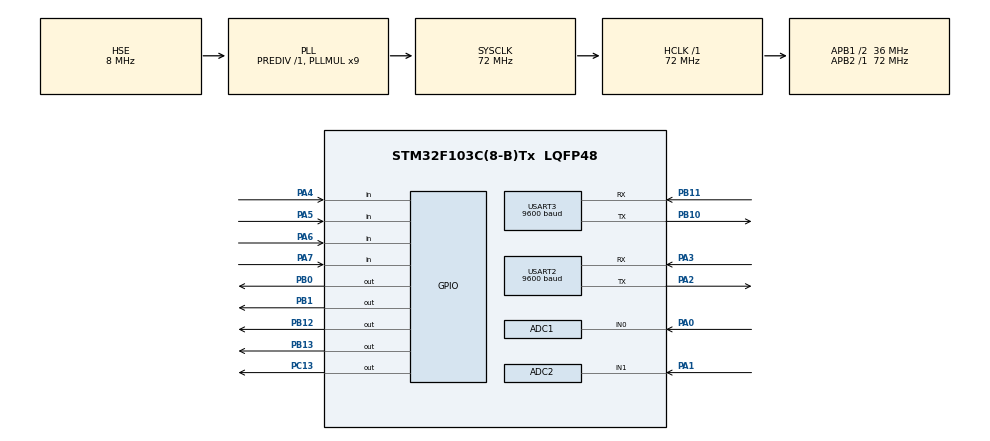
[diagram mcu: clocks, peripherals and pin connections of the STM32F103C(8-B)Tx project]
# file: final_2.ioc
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Mcu.Family=STM32F1
NVIC.USART3_IRQn=true\:0\:0\:false\:false\:true\:true\:true
RCC.PLLSourceVirtual=RCC_PLLSOURCE_HSE
PD1-OSC_OUT.Mode=HSE-External-Oscillator
PB10.Mode=Asynchronous
ADC2.Channel-0\#ChannelRegularConversion=ADC_CHANNEL_1
PC13-TAMPER-RTC.Signal=GPIO_Output
PD0-OSC_IN.Signal=RCC_OSC_IN
RCC.APB1CLKDivider=RCC_HCLK_DIV2
PB11.Signal=USART3_RX
PB13.Signal=GPIO_Output
VP_SYS_VS_ND.Mode=No_Debug
NVIC.USART2_IRQn=true\:0\:0\:false\:false\:true\:true\:true
USART2.BaudRate=9600
RCC.SYSCLKSource=RCC_SYSCLKSOURCE_PLLCLK
ProjectManager.StackSize=0x400
PA0-WKUP.Signal=ADCx_IN0
PD1-OSC_OUT.Signal=RCC_OSC_OUT
PA3.Mode=Asynchronous
USART3.BaudRate=9600
PB11.Mode=Asynchronous
ProjectManager.TargetToolchain=STM32CubeIDE
RCC.HCLKFreq_Value=72000000
RCC.APB2TimFreq_Value=72000000
ADC1.Channel-1\#ChannelRegularConversion=ADC_CHANNEL_0
RCC.USBFreq_Value=72000000
PA1.Signal=ADCx_IN1
PA7.GPIO_PuPd=GPIO_PULLUP
RCC.AHBFreq_Value=72000000
PD0-OSC_IN.Mode=HSE-External-Oscillator
PB10.Signal=USART3_TX
PA5.Signal=GPIO_Input
PA4.GPIO_PuPd=GPIO_PULLUP
board=custom
RCC.PLLMUL=RCC_PLL_MUL9
RCC.APB2Freq_Value=72000000
PA6.GPIO_PuPd=GPIO_PULLUP
PA5.GPIO_PuPd=GPIO_PULLUP
SH.ADCx_IN0.0=ADC1_IN0,IN0
Mcu.Name=STM32F103C(8-B)Tx
PA2.Signal=USART2_TX
PA4.Signal=GPIO_Input
ADC1.SamplingTime-1\#ChannelRegularConversion=ADC_SAMPLETIME_1CYCLE_5
RCC.SYSCLKFreq_VALUE=72000000
Mcu.Package=LQFP48
PA6.Signal=GPIO_Input
PB1.Signal=GPIO_Output
ADC1.master=1
ADC2.NbrOfConversionFlag=1
USART2.VirtualMode=VM_ASYNC
USART3.VirtualMode=VM_ASYNC
ADC1.Rank-1\#ChannelRegularConversion=1
ProjectManager.HeapSize=0x200
ADC2.SamplingTime-0\#ChannelRegularConversion=ADC_SAMPLETIME_1CYCLE_5
NVIC.PriorityGroup=NVIC_PRIORITYGROUP_4
ADC1.NbrOfConversionFlag=1
SH.ADCx_IN1.0=ADC2_IN1,IN1
RCC.APB1TimFreq_Value=72000000
PA2.Mode=Asynchronous
ADC2.Rank-0\#ChannelRegularConversion=1
RCC.APB1Freq_Value=36000000
PB0.Signal=GPIO_Output
PB12.Signal=GPIO_Output
PA3.Signal=USART2_RX
PA7.Signal=GPIO_Input

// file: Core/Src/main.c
/* USER CODE BEGIN Header */
/**
  ******************************************************************************
  * @file           : main.c
  * @author         :Mahmoud Saad
  * @brief          : Main program body
  ******************************************************************************
  * @attention
  *
  * <h2><center>&copy; Copyright (c) 2025 STMicroelectronics.
  * All rights reserved.</center></h2>
  *
  * This software component is licensed by ST under BSD 3-Clause license,
  * the "License"; You may not use this file except in compliance with the
  * License. You may obtain a copy of the License at:
  *                        opensource.org/licenses/BSD-3-Clause
  *
  ******************************************************************************
  */
/* USER CODE END Header */
#include "main.h"

/* USER CODE BEGIN Includes */
#include <string.h>
/* USER CODE END Includes */

ADC_HandleTypeDef hadc1;
ADC_HandleTypeDef hadc2;

UART_HandleTypeDef huart2;
UART_HandleTypeDef huart3;

/* USER CODE BEGIN PV */
//static const char* last_direction_uart2 = "CENTER";
//static const char* last_direction_uart3 = "CENTER";

uint32_t joystick_x = 0;
uint32_t joystick_y = 0;

#define THRESHOLD_HIGH 3000
#define THRESHOLD_LOW 1000

uint8_t rx_byte2; // receive one byte
char command2[10];
uint8_t idx2 = 0;

uint8_t rx_byte3; // receive one byte
char command3[10];
uint8_t idx3 = 0;

/* USER CODE END PV */

void SystemClock_Config(void);
static void MX_GPIO_Init(void);
static void MX_ADC1_Init(void);
static void MX_ADC2_Init(void);
static void MX_USART2_UART_Init(void);
static void MX_USART3_UART_Init(void);
/* USER CODE BEGIN PFP */

int read_mode(void);
const char* get_joystick_direction(uint32_t x, uint32_t y);
void read_joystick(uint32_t *x, uint32_t *y);

void move_forward(void);
void move_backward(void);
void turn_left(void);
void turn_right(void);
void stop_motors(void);

/* USER CODE END PFP */

int main(void)
{

  /* MCU Configuration--------------------------------------------------------*/

  /* Reset of all peripherals, Initializes the Flash interface and the Systick. */
  HAL_Init();

  /* Configure the system clock */
  SystemClock_Config();

  /* Initialize all configured peripherals */
  MX_GPIO_Init();
  MX_ADC1_Init();
  MX_ADC2_Init();
  MX_USART2_UART_Init();
  MX_USART3_UART_Init();

  /* Infinite loop */
  /* USER CODE BEGIN WHILE */

  HAL_UART_Receive_IT(&huart2, &rx_byte2, 1);
  HAL_UART_Receive_IT(&huart3, &rx_byte3, 1);

  const char* last_direction = "CENTER";

  uint8_t data = 0;
  int current_mode = 0;
  for(int i=0 ; i<3 ; i++)
  {
  HAL_GPIO_WritePin(GPIOC, GPIO_PIN_13, GPIO_PIN_SET);
  HAL_Delay(100);
  HAL_GPIO_WritePin(GPIOC, GPIO_PIN_13, GPIO_PIN_RESET);
  HAL_Delay(100);
  }
  while (1)
  {

	  int new_mode = read_mode();
	      if (new_mode != 0) {
	          current_mode = new_mode;
	      }

	      switch(current_mode) {
	          case 1: // Mode 1: Joystick
	              read_joystick(&joystick_x, &joystick_y);
	              const char* direction = get_joystick_direction(joystick_x, joystick_y);
	              // هنا تستخدم direction لتحريك المحركات
	              if (strcmp(direction, last_direction) != 0) {
	                  stop_motors();
	                  HAL_Delay(500);  // حماية قبل تنفيذ الاتجاه الجديد
	              }

	              if (strcmp(direction, "LEFT") == 0) {

	                          turn_left();

	                      }
	              else if (strcmp(direction, "RIGHT") == 0) {

	                          turn_right();
	                      }
	              else if (strcmp(direction, "UP") == 0) {

	                          move_forward();

	                      }
	              else if (strcmp(direction, "DOWN") == 0) {

	                      move_backward();

	                      }
	              else {
	                          stop_motors();
	                      }

	              last_direction = direction;

	              HAL_Delay(50);
	              break;

	          case 2: // Mode 2: UART2
	          {
	        	  if (HAL_GPIO_ReadPin(GPIOA, GPIO_PIN_5) == GPIO_PIN_RESET) {
	        	        data = '2';
	        	        HAL_UART_Transmit(&huart2, &data, 1, HAL_MAX_DELAY);
	        	        HAL_Delay(100); // to prevent speed repeat
	        	  }

	              break;
	          }

	          case 3: // Mode 3: UART3 Transmit / Receive
	              // هنا التعامل مع UART3
	        	  if (HAL_GPIO_ReadPin(GPIOA, GPIO_PIN_6) == GPIO_PIN_RESET){
	        	  data = '3';
	        	  HAL_UART_Transmit(&huart3, &data, 1, HAL_MAX_DELAY);
	        	  HAL_Delay(100); // to prevent speed repeat
	        	  }

	              break;

	          case 4: // Mode 4: UART3 Transmit / Receive
	              // هنا التعامل مع UART3 (حالة تانية)
	        	  if (HAL_GPIO_ReadPin(GPIOA, GPIO_PIN_5) == GPIO_PIN_RESET){
	        	  data = '4';
	        	  HAL_UART_Transmit(&huart3, &data, 1, HAL_MAX_DELAY);
	        	  HAL_Delay(100); // to prevent speed repeat
	        	  }
	        	  break;

	          default:
	              // مافيش مودي محدد
	        	  stop_motors();
	        	  //HAL_Delay(300);
	        	  break;
	      }

    /* USER CODE END WHILE */

  }
}

void SystemClock_Config(void)
{
  RCC_OscInitTypeDef RCC_OscInitStruct = {0};
  RCC_ClkInitTypeDef RCC_ClkInitStruct = {0};
  RCC_PeriphCLKInitTypeDef PeriphClkInit = {0};

  /** Initializes the RCC Oscillators according to the specified parameters
  * in the RCC_OscInitTypeDef structure.
  */
  RCC_OscInitStruct.OscillatorType = RCC_OSCILLATORTYPE_HSE;
  RCC_OscInitStruct.HSEState = RCC_HSE_ON;
  RCC_OscInitStruct.HSEPredivValue = RCC_HSE_PREDIV_DIV1;
  RCC_OscInitStruct.HSIState = RCC_HSI_ON;
  RCC_OscInitStruct.PLL.PLLState = RCC_PLL_ON;
  RCC_OscInitStruct.PLL.PLLSource = RCC_PLLSOURCE_HSE;
  RCC_OscInitStruct.PLL.PLLMUL = RCC_PLL_MUL9;
  if (HAL_RCC_OscConfig(&RCC_OscInitStruct) != HAL_OK)
  {
    Error_Handler();
  }
  /** Initializes the CPU, AHB and APB buses clocks
  */
  RCC_ClkInitStruct.ClockType = RCC_CLOCKTYPE_HCLK|RCC_CLOCKTYPE_SYSCLK
                              |RCC_CLOCKTYPE_PCLK1|RCC_CLOCKTYPE_PCLK2;
  RCC_ClkInitStruct.SYSCLKSource = RCC_SYSCLKSOURCE_PLLCLK;
  RCC_ClkInitStruct.AHBCLKDivider = RCC_SYSCLK_DIV1;
  RCC_ClkInitStruct.APB1CLKDivider = RCC_HCLK_DIV2;
  RCC_ClkInitStruct.APB2CLKDivider = RCC_HCLK_DIV1;

  if (HAL_RCC_ClockConfig(&RCC_ClkInitStruct, FLASH_LATENCY_2) != HAL_OK)
  {
    Error_Handler();
  }
  PeriphClkInit.PeriphClockSelection = RCC_PERIPHCLK_ADC;
  PeriphClkInit.AdcClockSelection = RCC_ADCPCLK2_DIV2;
  if (HAL_RCCEx_PeriphCLKConfig(&PeriphClkInit) != HAL_OK)
  {
    Error_Handler();
  }
}

static void MX_ADC1_Init(void)
{

  ADC_ChannelConfTypeDef sConfig = {0};

  /** Common config
  */
  hadc1.Instance = ADC1;
  hadc1.Init.ScanConvMode = ADC_SCAN_DISABLE;
  hadc1.Init.ContinuousConvMode = DISABLE;
  hadc1.Init.DiscontinuousConvMode = DISABLE;
  hadc1.Init.ExternalTrigConv = ADC_SOFTWARE_START;
  hadc1.Init.DataAlign = ADC_DATAALIGN_RIGHT;
  hadc1.Init.NbrOfConversion = 1;
  if (HAL_ADC_Init(&hadc1) != HAL_OK)
  {
    Error_Handler();
  }
  /** Configure Regular Channel
  */
  sConfig.Channel = ADC_CHANNEL_0;
  sConfig.Rank = ADC_REGULAR_RANK_1;
  sConfig.SamplingTime = ADC_SAMPLETIME_1CYCLE_5;
  if (HAL_ADC_ConfigChannel(&hadc1, &sConfig) != HAL_OK)
  {
    Error_Handler();
  }

}

static void MX_ADC2_Init(void)
{

  ADC_ChannelConfTypeDef sConfig = {0};

  /** Common config
  */
  hadc2.Instance = ADC2;
  hadc2.Init.ScanConvMode = ADC_SCAN_DISABLE;
  hadc2.Init.ContinuousConvMode = DISABLE;
  hadc2.Init.DiscontinuousConvMode = DISABLE;
  hadc2.Init.ExternalTrigConv = ADC_SOFTWARE_START;
  hadc2.Init.DataAlign = ADC_DATAALIGN_RIGHT;
  hadc2.Init.NbrOfConversion = 1;
  if (HAL_ADC_Init(&hadc2) != HAL_OK)
  {
    Error_Handler();
  }
  /** Configure Regular Channel
  */
  sConfig.Channel = ADC_CHANNEL_1;
  sConfig.Rank = ADC_REGULAR_RANK_1;
  sConfig.SamplingTime = ADC_SAMPLETIME_1CYCLE_5;
  if (HAL_ADC_ConfigChannel(&hadc2, &sConfig) != HAL_OK)
  {
    Error_Handler();
  }

}

static void MX_USART2_UART_Init(void)
{

  huart2.Instance = USART2;
  huart2.Init.BaudRate = 9600;
  huart2.Init.WordLength = UART_WORDLENGTH_8B;
  huart2.Init.StopBits = UART_STOPBITS_1;
  huart2.Init.Parity = UART_PARITY_NONE;
  huart2.Init.Mode = UART_MODE_TX_RX;
  huart2.Init.HwFlowCtl = UART_HWCONTROL_NONE;
  huart2.Init.OverSampling = UART_OVERSAMPLING_16;
  if (HAL_UART_Init(&huart2) != HAL_OK)
  {
    Error_Handler();
  }

}

static void MX_USART3_UART_Init(void)
{

  huart3.Instance = USART3;
  huart3.Init.BaudRate = 9600;
  huart3.Init.WordLength = UART_WORDLENGTH_8B;
  huart3.Init.StopBits = UART_STOPBITS_1;
  huart3.Init.Parity = UART_PARITY_NONE;
  huart3.Init.Mode = UART_MODE_TX_RX;
  huart3.Init.HwFlowCtl = UART_HWCONTROL_NONE;
  huart3.Init.OverSampling = UART_OVERSAMPLING_16;
  if (HAL_UART_Init(&huart3) != HAL_OK)
  {
    Error_Handler();
  }

}

static void MX_GPIO_Init(void)
{
  GPIO_InitTypeDef GPIO_InitStruct = {0};

  /* GPIO Ports Clock Enable */
  __HAL_RCC_GPIOC_CLK_ENABLE();
  __HAL_RCC_GPIOD_CLK_ENABLE();
  __HAL_RCC_GPIOA_CLK_ENABLE();
  __HAL_RCC_GPIOB_CLK_ENABLE();

  /*Configure GPIO pin Output Level */
  HAL_GPIO_WritePin(GPIOC, GPIO_PIN_13, GPIO_PIN_RESET);

  /*Configure GPIO pin Output Level */
  HAL_GPIO_WritePin(GPIOB, GPIO_PIN_0|GPIO_PIN_1|GPIO_PIN_12|GPIO_PIN_13, GPIO_PIN_RESET);

  /*Configure GPIO pin : PC13 */
  GPIO_InitStruct.Pin = GPIO_PIN_13;
  GPIO_InitStruct.Mode = GPIO_MODE_OUTPUT_PP;
  GPIO_InitStruct.Pull = GPIO_NOPULL;
  GPIO_InitStruct.Speed = GPIO_SPEED_FREQ_LOW;
  HAL_GPIO_Init(GPIOC, &GPIO_InitStruct);

  /*Configure GPIO pins : PA4 PA5 PA6 PA7 */
  GPIO_InitStruct.Pin = GPIO_PIN_4|GPIO_PIN_5|GPIO_PIN_6|GPIO_PIN_7;
  GPIO_InitStruct.Mode = GPIO_MODE_INPUT;
  GPIO_InitStruct.Pull = GPIO_PULLUP;
  HAL_GPIO_Init(GPIOA, &GPIO_InitStruct);

  /*Configure GPIO pins : PB0 PB1 PB12 PB13 */
  GPIO_InitStruct.Pin = GPIO_PIN_0|GPIO_PIN_1|GPIO_PIN_12|GPIO_PIN_13;
  GPIO_InitStruct.Mode = GPIO_MODE_OUTPUT_PP;
  GPIO_InitStruct.Pull = GPIO_NOPULL;
  GPIO_InitStruct.Speed = GPIO_SPEED_FREQ_LOW;
  HAL_GPIO_Init(GPIOB, &GPIO_InitStruct);

}

/* USER CODE BEGIN 4 */

void read_joystick(uint32_t *x, uint32_t *y) {
    // قراءة X
    HAL_ADC_Start(&hadc1);
    HAL_ADC_PollForConversion(&hadc1, HAL_MAX_DELAY);
    *x = HAL_ADC_GetValue(&hadc1);
    HAL_ADC_Stop(&hadc1);

    // قراءة Y
    HAL_ADC_Start(&hadc2);
    HAL_ADC_PollForConversion(&hadc2, HAL_MAX_DELAY);
    *y = HAL_ADC_GetValue(&hadc2);
    HAL_ADC_Stop(&hadc2);
}

const char* get_joystick_direction(uint32_t x, uint32_t y) {
    if (x < THRESHOLD_LOW) return "LEFT";
    if (x > THRESHOLD_HIGH) return "RIGHT";
    if (y < THRESHOLD_LOW) return "UP";
    if (y > THRESHOLD_HIGH) return "DOWN";
    return "CENTER"; // مافيش حركة
}

int read_mode(void) {
    if (HAL_GPIO_ReadPin(GPIOA, GPIO_PIN_4) == GPIO_PIN_RESET) {
        return 1;
    } else if (HAL_GPIO_ReadPin(GPIOA, GPIO_PIN_5) == GPIO_PIN_RESET) {
        return 2;
    } else if (HAL_GPIO_ReadPin(GPIOA, GPIO_PIN_6) == GPIO_PIN_RESET) {
        return 3;
    } else if (HAL_GPIO_ReadPin(GPIOA, GPIO_PIN_7) == GPIO_PIN_RESET) {
        return 4;
    }
    return 0;
}

/* UART RX Callback uart */

/* USER CODE BEGIN 4 */
void HAL_UART_RxCpltCallback(UART_HandleTypeDef *huart) {
    if (huart->Instance == USART2) {
        // هنا كود التعامل مع USART2

    	if (rx_byte2 != '\r' && rx_byte2 != '\n')
    	    {
    	      if (idx2 < sizeof(command2) - 1) // check for there is space
    	      {
    	        command2[idx2++] = rx_byte2;
    	      }
    	    }
    	    else
    	    {
    	      command2[idx2] = '\0';
    	      idx2 = 0;

    	      if (strcmp(command2, "left") == 0) {
    	    	 // stop_motors();
    	    	  //HAL_Delay(1000);
    	    	  turn_left();
    	      } else if (strcmp(command2, "right") == 0) {
    	    	 // stop_motors();
    	    	  //HAL_Delay(1000);
    	    	  turn_right();
    	      } else if (strcmp(command2, "up") == 0) {
    	    	//stop_motors();
    	       // HAL_Delay(1000);
    	    	  move_backward();
    	    	 // move_forward();
    	      } else if (strcmp(command2, "down") == 0) {
    	    	//stop_motors();
    	       // HAL_Delay(1000);
    	    	  move_forward();
    	    	//move_backward();
    	      } else {
    	    	stop_motors();
    	      }
    	    }

    	    HAL_UART_Receive_IT(&huart2, &rx_byte2, 1);

/*
    	if (rx_byte2 != '\r' && rx_byte2 != '\n') {
    	    if (idx2 < sizeof(command2) - 1) {
    	        command2[idx2++] = rx_byte2;
    	    }
    	} else {
    	    command2[idx2] = '\0';
    	    idx2 = 0;

    	    if (strcmp(command2, last_direction_uart2) != 0) {
    	        stop_motors();
    	        HAL_Delay(300);
    	    }

    	    if (strcmp(command2, "left") == 0) {
    	        turn_left();
    	        last_direction_uart2 = "left";
    	    } else if (strcmp(command2, "right") == 0) {
    	        turn_right();
    	        last_direction_uart2 = "right";
    	    } else if (strcmp(command2, "up") == 0) {
    	        move_forward();
    	        last_direction_uart2 = "up";
    	    } else if (strcmp(command2, "down") == 0) {
    	        move_backward();
    	        last_direction_uart2 = "down";
    	    } else {
    	        stop_motors();
    	        last_direction_uart2 = "CENTER";
    	    }
    	}

    	HAL_UART_Receive_IT(&huart2, &rx_byte2, 1);
*/
    } else if (huart->Instance == USART3) {
        // هنا كود التعامل مع USART3

    	if (rx_byte3 != '\r' && rx_byte3 != '\n')
    	    {
    	      if (idx3 < sizeof(command3) - 1) // check for there is space
    	      {
    	        command3[idx3++] = rx_byte3;
    	      }
    	    }
    	    else
    	    {
    	      command3[idx3] = '\0';
    	      idx3 = 0;

    	      if (strcmp(command3, "left") == 0) {
    	    	  //stop_motors();
    	    	// HAL_Delay(1000);
    	    	turn_left();
    	      } else if (strcmp(command3, "right") == 0) {
    	    	//  stop_motors();
    	    	//  HAL_Delay(1000);
    	    	  turn_right();
    	      } else if (strcmp(command3, "up") == 0) {
    	    	 // stop_motors();
    	    	 // HAL_Delay(1000);
    	    	//move_forward();
    	    	  move_backward();
    	      } else if (strcmp(command3, "down") == 0) {
    	    	  //stop_motors();
    	    	  //HAL_Delay(1000);
    	    	//move_backward();
    	    	  move_forward();
    	      } else {
    	    	stop_motors();
    	      }
    	    }

    	    HAL_UART_Receive_IT(&huart3, &rx_byte3, 1);
   /*
    	if (rx_byte3 != '\r' && rx_byte3 != '\n') {
    	    if (idx3 < sizeof(command3) - 1) {
    	        command3[idx3++] = rx_byte3;
    	    }
    	} else {
    	    command3[idx3] = '\0';
    	    idx3 = 0;

    	    if (strcmp(command3, last_direction_uart3) != 0) {
    	        stop_motors();
    	        HAL_Delay(300);
    	    }

    	    if (strcmp(command3, "left") == 0) {
    	        turn_left();
    	        last_direction_uart3 = "left";
    	    } else if (strcmp(command3, "right") == 0) {
    	        turn_right();
    	        last_direction_uart3 = "right";
    	    } else if (strcmp(command3, "up") == 0) {
    	        move_forward();
    	        last_direction_uart3 = "up";
    	    } else if (strcmp(command3, "down") == 0) {
    	        move_backward();
    	        last_direction_uart3 = "down";
    	    } else {
    	        stop_motors();
    	        last_direction_uart3 = "CENTER";
    	    }
    	}

    	HAL_UART_Receive_IT(&huart3, &rx_byte3, 1);

*/
    }
}

// Motor Control Functions
void move_forward(void) {
    HAL_GPIO_WritePin(GPIOB, GPIO_PIN_0, GPIO_PIN_SET);
    HAL_GPIO_WritePin(GPIOB, GPIO_PIN_1, GPIO_PIN_RESET);
    HAL_GPIO_WritePin(GPIOB, GPIO_PIN_12, GPIO_PIN_SET);
    HAL_GPIO_WritePin(GPIOB, GPIO_PIN_13, GPIO_PIN_RESET);
}

void move_backward(void) {
    HAL_GPIO_WritePin(GPIOB, GPIO_PIN_0, GPIO_PIN_RESET);
    HAL_GPIO_WritePin(GPIOB, GPIO_PIN_1, GPIO_PIN_SET);
    HAL_GPIO_WritePin(GPIOB, GPIO_PIN_12, GPIO_PIN_RESET);
    HAL_GPIO_WritePin(GPIOB, GPIO_PIN_13, GPIO_PIN_SET);
}

void turn_left(void) {
    HAL_GPIO_WritePin(GPIOB, GPIO_PIN_0, GPIO_PIN_RESET);
    HAL_GPIO_WritePin(GPIOB, GPIO_PIN_1, GPIO_PIN_SET);
    HAL_GPIO_WritePin(GPIOB, GPIO_PIN_12, GPIO_PIN_SET);
    HAL_GPIO_WritePin(GPIOB, GPIO_PIN_13, GPIO_PIN_RESET);
}

void turn_right(void) {
    HAL_GPIO_WritePin(GPIOB, GPIO_PIN_0, GPIO_PIN_SET);
    HAL_GPIO_WritePin(GPIOB, GPIO_PIN_1, GPIO_PIN_RESET);
    HAL_GPIO_WritePin(GPIOB, GPIO_PIN_12, GPIO_PIN_RESET);
    HAL_GPIO_WritePin(GPIOB, GPIO_PIN_13, GPIO_PIN_SET);
}

void stop_motors(void) {
    HAL_GPIO_WritePin(GPIOB, GPIO_PIN_0, GPIO_PIN_RESET);
    HAL_GPIO_WritePin(GPIOB, GPIO_PIN_1, GPIO_PIN_RESET);
    HAL_GPIO_WritePin(GPIOB, GPIO_PIN_12, GPIO_PIN_RESET);
    HAL_GPIO_WritePin(GPIOB, GPIO_PIN_13, GPIO_PIN_RESET);
}

/* USER CODE END 4 */

void Error_Handler(void)
{
  __disable_irq();
  while (1)
  {
  }
}

/************************ (C) COPYRIGHT STMicroelectronics *****END OF FILE****/
